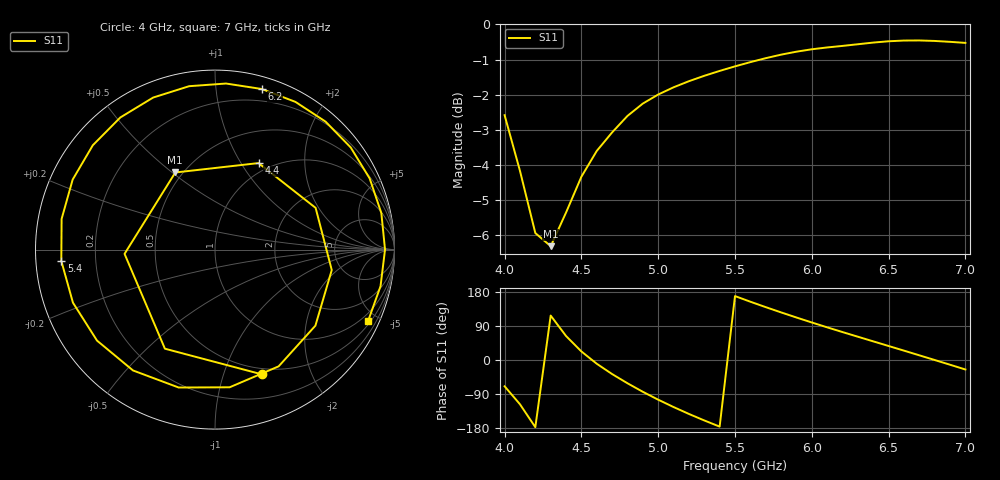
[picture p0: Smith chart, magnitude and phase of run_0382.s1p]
! Touchstone file exported from HFSS 2024.2.0
!  File:  C:/Users/wsak9/Desktop/Sim Fast/Widenad Patch/WP_AI_V1_sweep.aedt
!  Generated:  07:20:21 AM Oct 14, 2026
!  Design:  A1_model
!  Project:  WP_AI_V1_sweep
!  Setup:  Setup1
!  Solution:  Sweep
! Variables:
!  Air_gap = 4.09mm
!  Curve_Amp1 = 1.31
!  Curve_len1 = 1
!  Curve_pos = 13.315mm
!  Extra = 1.73mm
!  H_sub = 0.79mm
!  L_Patch = 22.63mm
!  L_Patch1 = 14.46mm
!  Sx = 2.33mm
!  Sy = 3.33mm
!  WS = 1.11mm
!  W_Patch = 19.81mm
!  W_Patch1 = 12.73mm
!Data is not renormalized
# GHz S MA
! Terminal data exported
! Port[1] = 1
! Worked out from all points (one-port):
!   31 points, 4 GHz to 7 GHz, reference per port
!   lowest |S11| = -6.3 dB at 4.3 GHz (marker M1), VSWR 2.87
!   |S11| at or under -10 dB: nowhere
!   S11 on the Smith chart (normalised r, x): 4 GHz: 0.44, -1.35; 4.4 GHz: 0.88, +1.20; 5.4 GHz: 0.08, -0.04; 6.2 GHz: 0.10, +1.33; 7 GHz: 0.63, -4.41
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4  0.7426 -69.4
4.1  0.6186 -116.8
4.2  0.5045 -177.3
4.3  0.4832 117.2
4.4  0.5395 63.3
4.5  0.6069 22.5
4.6  0.6604 -9.9
4.7  0.7018 -37.1
4.8  0.7408 -61.4
4.9  0.7714 -83.9
5  0.7946 -104.8
5.1  0.8137 -124.2
5.2  0.8302 -142.4
5.3  0.8449 -159.5
5.4  0.8586 -175.8
5.5  0.8715 168.7
5.6  0.8837 153.8
5.7  0.8952 139.5
5.9  0.9145 112.1
6  0.9217 99.0
6.1  0.9273 86.2
6.2  0.932 73.7
6.3  0.9371 61.4
6.5  0.9463 37.0
6.7  0.9488 12.4
6.8  0.9473 0.0
6.9  0.9445 -12.5
7  0.9413 -25.1
